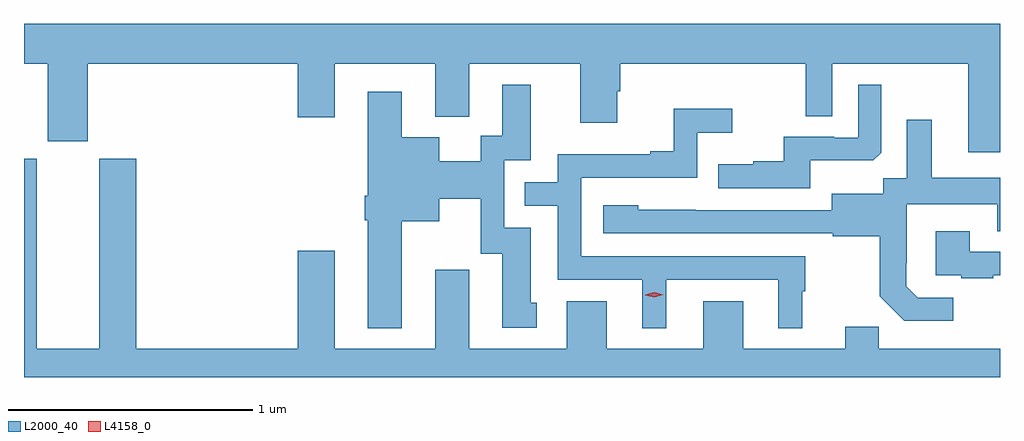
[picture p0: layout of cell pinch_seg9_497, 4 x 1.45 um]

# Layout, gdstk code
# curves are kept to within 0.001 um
import gdstk
lib = gdstk.Library(unit=1e-6, precision=1e-09)
def P(c, l, *ps):  # polygons
    for p in ps: c.add(gdstk.Polygon(p, *l))
L2000_40 = (2000, 40)
L4158_0 = (4158, 0)

pinch_seg9_497 = lib.new_cell('pinch_seg9_497')
P(pinch_seg9_497, L2000_40, [(313.654,1165.948),(309.654,1165.948),(309.654,1165.784),(309.752,1165.784),(309.752,1165.467),(309.916,1165.467),(309.916,1165.784),(310.775,1165.784),(310.775,1165.566),(310.927,1165.566),(310.927,1165.784),(311.339,1165.784),(311.339,1165.568),(311.479,1165.568),(311.479,1165.784),(311.933,1165.784),(311.933,1165.542),(312.085,1165.542),(312.085,1165.671),(312.098,1165.671),(312.098,1165.784),(312.858,1165.784),(312.858,1165.57),(312.966,1165.57),(312.966,1165.784),(313.523,1165.784),(313.523,1165.422),(313.654,1165.422)],
  [(312.877,1165.388),(313.135,1165.388),(313.167,1165.419),(313.167,1165.699),(313.074,1165.699),(313.074,1165.482),(312.974,1165.482),(312.974,1165.485),(312.767,1165.485),(312.767,1165.384),(312.643,1165.384),(312.643,1165.372),(312.499,1165.372),(312.499,1165.275),(312.877,1165.275)],
  [(311.203,1165.139),(311.356,1165.139),(311.356,1165.232),(311.526,1165.232),(311.526,1165.005),(311.615,1165.005),(311.615,1164.702),(311.755,1164.702),(311.755,1164.804),(311.731,1164.804),(311.731,1165.113),(311.622,1165.113),(311.622,1165.389),(311.731,1165.389),(311.731,1165.699),(311.615,1165.699),(311.615,1165.49),(311.525,1165.49),(311.525,1165.384),(311.356,1165.384),(311.356,1165.483),(311.203,1165.483),(311.203,1165.669),(311.063,1165.669),(311.063,1165.243),(311.051,1165.243),(311.051,1165.143),(311.063,1165.143),(311.063,1164.701),(311.203,1164.701)],
  [(312.286,1164.9),(312.746,1164.9),(312.746,1164.701),(312.844,1164.701),(312.844,1164.852),(312.856,1164.852),(312.856,1164.996),(311.937,1164.996),(311.937,1165.317),(312.414,1165.317),(312.414,1165.502),(312.556,1165.502),(312.556,1165.601),(312.316,1165.601),(312.316,1165.426),(312.221,1165.426),(312.221,1165.413),(311.841,1165.413),(311.841,1165.299),(311.707,1165.299),(311.707,1165.203),(311.841,1165.203),(311.841,1164.9),(312.188,1164.9),(312.188,1164.701),(312.286,1164.701)],
  [(313.462,1164.825),(313.317,1164.825),(313.27,1164.872),(313.27,1164.967),(313.272,1164.967),(313.272,1165.208),(313.643,1165.208),(313.643,1165.099),(313.654,1165.099),(313.654,1165.318),(313.375,1165.318),(313.375,1165.555),(313.271,1165.555),(313.271,1165.316),(313.176,1165.316),(313.176,1165.252),(312.965,1165.252),(312.965,1165.185),(312.171,1165.186),(312.171,1165.204),(312.027,1165.204),(312.027,1165.089),(312.969,1165.089),(312.969,1165.077),(313.161,1165.077),(313.161,1164.831),(313.261,1164.731),(313.462,1164.731)],
  [(313.654,1164.616),(313.157,1164.616),(313.157,1164.707),(313.019,1164.707),(313.019,1164.616),(312.601,1164.616),(312.601,1164.811),(312.437,1164.811),(312.437,1164.616),(312.043,1164.616),(312.043,1164.811),(311.879,1164.811),(311.879,1164.616),(311.479,1164.616),(311.479,1164.94),(311.339,1164.94),(311.339,1164.616),(310.927,1164.616),(310.927,1165.018),(310.775,1165.018),(310.775,1164.616),(310.115,1164.616),(310.115,1165.395),(309.962,1165.395),(309.962,1164.616),(309.706,1164.616),(309.706,1165.395),(309.654,1165.395),(309.654,1164.5),(313.654,1164.5)],
  [(313.627,1164.917),(313.654,1164.917),(313.654,1165.014),(313.531,1165.014),(313.531,1165.099),(313.391,1165.099),(313.391,1164.918),(313.495,1164.918),(313.495,1164.906),(313.627,1164.906)])
P(pinch_seg9_497, L4158_0, [(312.237,1164.827),(312.201,1164.836),(312.201,1164.836),(312.201,1164.837),(312.237,1164.847),(312.273,1164.838),(312.273,1164.838),(312.273,1164.838)])

lib.write_gds('pinch_seg9_497.gds')
